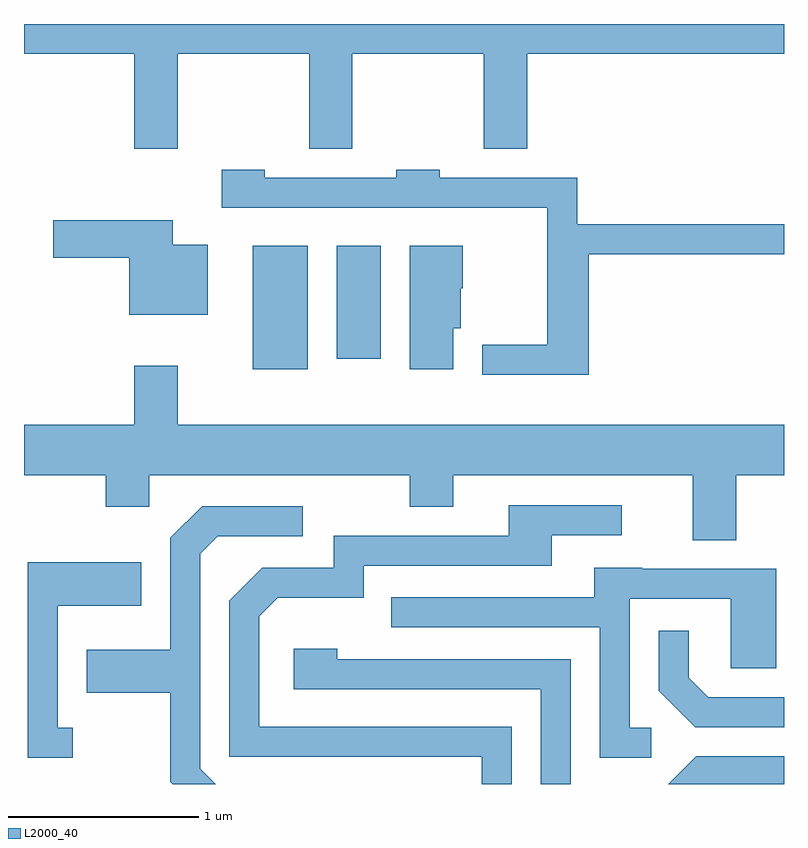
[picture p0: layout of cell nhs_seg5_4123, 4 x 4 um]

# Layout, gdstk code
import gdstk
lib = gdstk.Library(unit=1e-6, precision=1e-09)
def R(c, l, rs):  # rectangles x0, y0, x1, y1
    for r in rs: c.add(gdstk.rectangle(r[:2], r[2:], *l))
def P(c, l, *ps):  # polygons
    for p in ps: c.add(gdstk.Polygon(p, *l))
L2000_40 = (2000, 40)

nhs_seg5_4123 = lib.new_cell('nhs_seg5_4123')
R(nhs_seg5_4123, L2000_40, [(308.816,1446.256,309.104,1446.904), (309.256,1446.311,309.489,1446.904)])
P(nhs_seg5_4123, L2000_40, [(308.419,1447.916),(309.111,1447.916),(309.111,1447.416),(309.339,1447.416),(309.339,1447.916),(310.031,1447.916),(310.031,1447.416),(310.259,1447.416),(310.259,1447.916),(311.611,1447.916),(311.611,1448.072),(307.611,1448.072),(307.611,1447.916),(308.191,1447.916),(308.191,1447.416),(308.419,1447.416)],
  [(310.584,1446.861),(311.611,1446.861),(311.611,1447.019),(310.524,1447.019),(310.524,1447.264),(309.799,1447.264),(309.799,1447.304),(309.571,1447.304),(309.571,1447.264),(308.879,1447.264),(308.879,1447.304),(308.651,1447.304),(308.651,1447.106),(310.366,1447.106),(310.366,1446.384),(310.023,1446.384),(310.023,1446.226),(310.584,1446.226)],
  [(308.579,1446.909),(308.394,1446.909),(308.394,1447.039),(307.766,1447.039),(307.766,1446.841),(308.166,1446.841),(308.166,1446.541),(308.579,1446.541)],
  [(309.869,1446.471),(309.909,1446.471),(309.909,1446.68),(309.919,1446.68),(309.919,1446.904),(309.641,1446.904),(309.641,1446.256),(309.869,1446.256)],
  [(311.359,1445.696),(311.611,1445.696),(311.611,1445.964),(308.419,1445.964),(308.419,1446.274),(308.191,1446.274),(308.191,1445.964),(307.611,1445.964),(307.611,1445.696),(308.041,1445.696),(308.041,1445.531),(308.269,1445.531),(308.269,1445.696),(309.641,1445.696),(309.641,1445.531),(309.869,1445.531),(309.869,1445.696),(311.131,1445.696),(311.131,1445.356),(311.359,1445.356)],
  [(310.179,1444.374),(308.849,1444.374),(308.849,1444.954),(308.947,1445.051),(309.399,1445.051),(309.399,1445.221),(310.389,1445.221),(310.389,1445.381),(310.758,1445.381),(310.758,1445.539),(310.161,1445.539),(310.161,1445.379),(309.241,1445.379),(309.241,1445.209),(308.864,1445.209),(308.691,1445.037),(308.691,1444.216),(310.021,1444.216),(310.021,1444.072),(310.179,1444.072)],
  [(308.539,1444.152),(308.539,1445.284),(308.632,1445.376),(309.078,1445.376),(309.078,1445.534),(308.549,1445.534),(308.381,1445.367),(308.381,1444.779),(307.941,1444.779),(307.941,1444.551),(308.381,1444.551),(308.381,1444.084),(308.393,1444.072),(308.619,1444.072)],
  [(307.868,1444.369),(307.789,1444.369),(307.789,1445.011),(308.229,1445.011),(308.229,1445.239),(307.631,1445.239),(307.631,1444.211),(307.868,1444.211)],
  [(310.913,1444.369),(310.799,1444.369),(310.799,1445.046),(311.331,1445.046),(311.331,1444.681),(311.569,1444.681),(311.569,1445.204),(310.865,1445.204),(310.865,1445.209),(310.611,1445.209),(310.611,1445.054),(309.543,1445.054),(309.543,1444.896),(310.641,1444.896),(310.641,1444.211),(310.913,1444.211)],
  [(311.611,1444.529),(311.212,1444.529),(311.109,1444.632),(311.109,1444.878),(310.951,1444.878),(310.951,1444.564),(311.144,1444.371),(311.611,1444.371)],
  [(310.489,1444.729),(309.259,1444.729),(309.259,1444.784),(309.031,1444.784),(309.031,1444.571),(310.331,1444.571),(310.331,1444.072),(310.489,1444.072)],
  [(311.611,1444.219),(311.149,1444.219),(311.002,1444.072),(311.611,1444.072)])

lib.write_gds('nhs_seg5_4123.gds')
